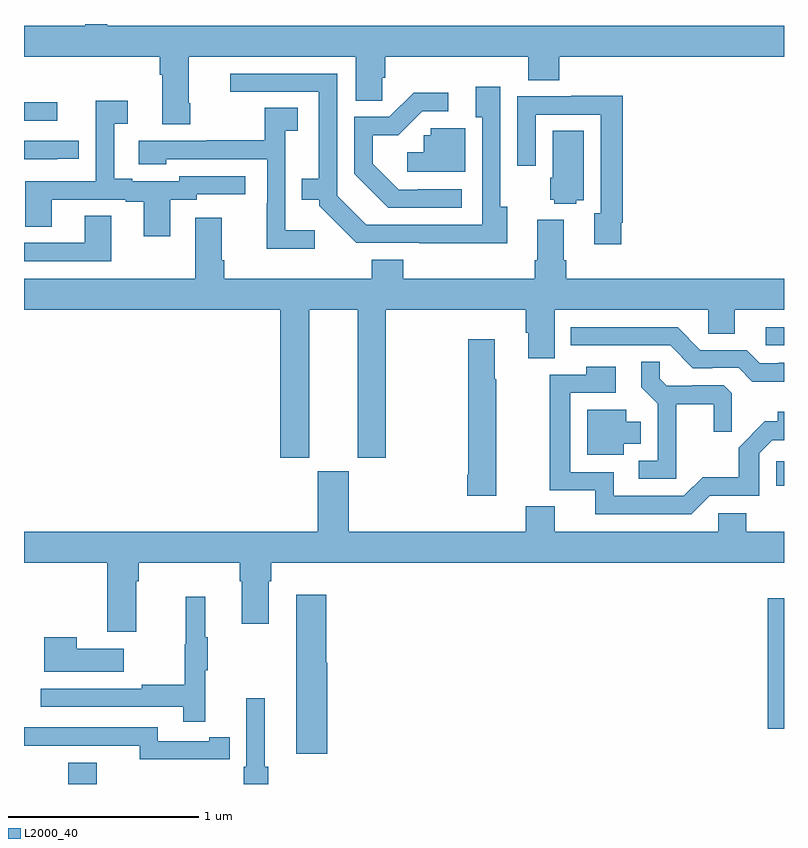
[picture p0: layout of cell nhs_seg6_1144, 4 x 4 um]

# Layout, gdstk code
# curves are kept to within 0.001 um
import gdstk
lib = gdstk.Library(unit=1e-6, precision=1e-09)
def R(c, l, rs):  # rectangles x0, y0, x1, y1
    for r in rs: c.add(gdstk.rectangle(r[:2], r[2:], *l))
def P(c, l, *ps):  # polygons
    for p in ps: c.add(gdstk.Polygon(p, *l))
L2000_40 = (2000, 40)

nhs_seg6_1144 = lib.new_cell('nhs_seg6_1144')
R(nhs_seg6_1144, L2000_40, [(181.232,951.5,181.384,951.613), (184.915,951.792,185,952.477), (184.959,953.07,185,953.199), (184.905,953.808,185,953.904), (181,954.99,181.174,955.089)])
P(nhs_seg6_1144, L2000_40, [(181.875,955.084),(181.867,955.084),(181.867,955.328),(182.747,955.328),(182.747,955.096),(182.885,955.096),(182.885,955.218),(182.9,955.218),(182.9,955.328),(183.653,955.328),(183.653,955.204),(183.818,955.204),(183.818,955.328),(185,955.328),(185,955.492),(181.439,955.492),(181.439,955.5),(181.323,955.5),(181.323,955.492),(181,955.492),(181,955.328),(181.715,955.328),(181.715,955.232),(181.727,955.232),(181.727,954.972),(181.875,954.972)],
  [(183.544,954.538),(183.507,954.538),(183.507,955.171),(183.377,955.171),(183.377,955.01),(183.411,955.01),(183.411,954.444),(182.802,954.444),(182.649,954.597),(182.649,955.239),(182.085,955.239),(182.085,955.143),(182.552,955.143),(182.552,954.685),(182.461,954.685),(182.461,954.575),(182.553,954.575),(182.553,954.543),(182.748,954.348),(183.544,954.347)],
  [(183.304,954.63),(183.073,954.63),(183.073,954.627),(182.973,954.627),(182.836,954.764),(182.836,954.914),(182.969,954.914),(183.096,955.041),(183.232,955.041),(183.232,955.139),(183.05,955.139),(182.922,955.011),(182.739,955.011),(182.739,954.713),(182.918,954.534),(183.304,954.534)],
  [(184.144,954.454),(184.151,954.454),(184.151,955.123),(183.881,955.123),(183.881,955.119),(183.597,955.119),(183.597,954.753),(183.693,954.753),(183.693,955.023),(184.035,955.023),(184.035,954.503),(184.001,954.503),(184.001,954.342),(184.144,954.342)],
  [(181.771,954.576),(181.908,954.576),(181.908,954.603),(182.164,954.603),(182.164,954.699),(181.818,954.699),(181.818,954.672),(181.57,954.672),(181.57,954.685),(181.474,954.685),(181.474,954.976),(181.546,954.976),(181.546,955.096),(181.377,955.096),(181.377,954.672),(181.007,954.672),(181.007,954.433),(181.147,954.433),(181.147,954.576),(181.535,954.576),(181.535,954.564),(181.631,954.564),(181.631,954.384),(181.771,954.384)],
  [(182.53,954.415),(182.376,954.415),(182.376,954.937),(182.44,954.937),(182.44,955.058),(182.268,955.058),(182.268,954.888),(181.963,954.888),(181.963,954.885),(181.605,954.885),(181.605,954.761),(181.749,954.761),(181.749,954.789),(182.28,954.789),(182.28,954.557),(182.278,954.557),(182.278,954.317),(182.53,954.317)],
  [(183.322,954.951),(183.141,954.951),(183.141,954.915),(183.105,954.915),(183.105,954.826),(183.018,954.826),(183.018,954.723),(183.322,954.723)],
  [(183.906,954.572),(183.946,954.572),(183.946,954.938),(183.782,954.938),(183.782,954.69),(183.77,954.69),(183.77,954.576),(183.792,954.576),(183.792,954.554),(183.906,954.554)],
  [(181.175,954.79),(181.288,954.79),(181.288,954.885),(181,954.885),(181,954.789),(181.175,954.789)],
  [(181.459,954.491),(181.319,954.491),(181.319,954.348),(181,954.348),(181,954.252),(181.459,954.252)],
  [(183.793,953.996),(184.602,953.996),(184.602,953.869),(184.741,953.869),(184.741,953.996),(185,953.996),(185,954.16),(183.854,954.16),(183.854,954.256),(183.841,954.256),(183.841,954.469),(183.701,954.469),(183.701,954.256),(183.689,954.256),(183.689,954.16),(182.996,954.16),(182.996,954.259),(182.831,954.259),(182.831,954.16),(182.054,954.16),(182.054,954.256),(182.041,954.256),(182.041,954.481),(181.901,954.481),(181.901,954.16),(181,954.16),(181,953.996),(182.348,953.996),(182.348,953.217),(182.5,953.217),(182.5,953.996),(182.756,953.996),(182.756,953.217),(182.904,953.217),(182.904,953.996),(183.641,953.996),(183.641,953.874),(183.653,953.874),(183.653,953.74),(183.793,953.74)],
  [(185,953.718),(184.972,953.718),(184.972,953.715),(184.872,953.715),(184.803,953.784),(184.56,953.784),(184.44,953.904),(183.878,953.904),(183.878,953.808),(184.401,953.808),(184.521,953.688),(184.622,953.688),(184.622,953.691),(184.761,953.691),(184.834,953.618),(185,953.618)],
  [(183.486,953.629),(183.478,953.629),(183.478,953.842),(183.337,953.842),(183.337,953.128),(183.332,953.128),(183.332,953.016),(183.486,953.016)],
  [(184.433,953.498),(184.63,953.498),(184.63,953.355),(184.724,953.355),(184.724,953.557),(184.683,953.598),(184.518,953.598),(184.518,953.595),(184.384,953.595),(184.347,953.632),(184.347,953.723),(184.249,953.723),(184.249,953.587),(184.335,953.501),(184.335,953.202),(184.236,953.202),(184.236,953.106),(184.433,953.106)],
  [(184.608,953.016),(184.869,953.016),(184.869,953.241),(184.938,953.31),(185,953.31),(185,953.458),(184.968,953.458),(184.968,953.408),(184.898,953.408),(184.761,953.27),(184.761,953.115),(184.572,953.115),(184.473,953.016),(184.105,953.016),(184.105,953.142),(183.876,953.142),(183.876,953.559),(184.114,953.559),(184.114,953.695),(183.958,953.695),(183.958,953.655),(183.768,953.655),(183.768,953.046),(184.007,953.046),(184.007,952.92),(184.512,952.92)],
  [(184.156,953.291),(184.246,953.291),(184.246,953.407),(184.171,953.407),(184.171,953.47),(183.965,953.47),(183.965,953.234),(184.156,953.234)],
  [(181.591,952.568),(181.604,952.568),(181.604,952.664),(182.135,952.664),(182.135,952.568),(182.147,952.568),(182.147,952.344),(182.287,952.344),(182.287,952.568),(182.3,952.568),(182.3,952.664),(185,952.664),(185,952.828),(184.8,952.828),(184.8,952.926),(184.653,952.926),(184.653,952.828),(183.793,952.828),(183.793,952.961),(183.641,952.961),(183.641,952.828),(182.71,952.828),(182.71,953.145),(182.546,953.145),(182.546,952.828),(181,952.828),(181,952.664),(181.439,952.664),(181.439,952.302),(181.591,952.302)],
  [(182.596,952.137),(182.591,952.137),(182.591,952.495),(182.432,952.495),(182.432,951.66),(182.596,951.66)],
  [(181.955,952.099),(181.966,952.099),(181.966,952.273),(181.955,952.273),(181.955,952.486),(181.852,952.486),(181.852,952.236),(181.845,952.236),(181.845,952.022),(181.621,952.022),(181.621,952.002),(181.089,952.002),(181.089,951.906),(181.837,951.906),(181.837,951.828),(181.955,951.828)],
  [(181.525,952.213),(181.277,952.213),(181.277,952.273),(181.106,952.273),(181.106,952.091),(181.525,952.091)],
  [(182.285,951.592),(182.266,951.592),(182.266,951.952),(182.169,951.952),(182.169,951.592),(182.156,951.592),(182.156,951.5),(182.285,951.5)],
  [(181.976,951.63),(182.084,951.63),(182.084,951.746),(181.976,951.746),(181.976,951.726),(181.704,951.726),(181.704,951.798),(181,951.798),(181,951.701),(181.148,951.701),(181.148,951.702),(181.608,951.702),(181.608,951.629),(181.976,951.629)])

lib.write_gds('nhs_seg6_1144.gds')
